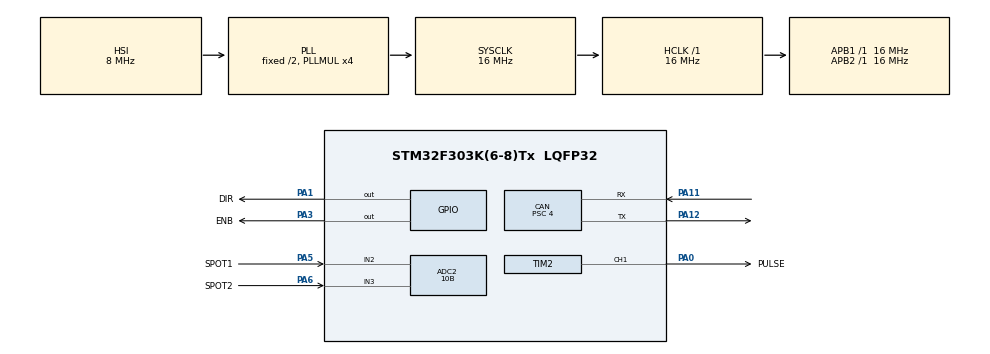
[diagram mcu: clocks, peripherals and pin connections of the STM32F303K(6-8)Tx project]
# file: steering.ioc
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ADC2.Channel-3\#ChannelRegularConversion=ADC_CHANNEL_2
ADC2.Channel-5\#ChannelRegularConversion=ADC_CHANNEL_3
ADC2.ContinuousConvMode=ENABLE
ADC2.DMAContinuousRequests=ENABLE
ADC2.EOCSelection=ADC_EOC_SINGLE_CONV
ADC2.NbrOfConversion=2
ADC2.NbrOfConversionFlag=1
ADC2.Offset-3\#ChannelRegularConversion=0
ADC2.Offset-5\#ChannelRegularConversion=0
ADC2.OffsetNumber-3\#ChannelRegularConversion=ADC_OFFSET_NONE
ADC2.OffsetNumber-5\#ChannelRegularConversion=ADC_OFFSET_NONE
ADC2.Rank-3\#ChannelRegularConversion=1
ADC2.Rank-5\#ChannelRegularConversion=2
ADC2.Resolution=ADC_RESOLUTION_10B
ADC2.SamplingTime-3\#ChannelRegularConversion=ADC_SAMPLETIME_181CYCLES_5
ADC2.SamplingTime-5\#ChannelRegularConversion=ADC_SAMPLETIME_181CYCLES_5
ADC2.SamplingTimeOPAMP-5\#ChannelRegularConversion=ADC_SAMPLETIME_1CYCLE_5
ADC2.SubFamily=STM32F303x8
CAN.BS1=CAN_BS1_2TQ
CAN.CalculateBaudRate=1000000
CAN.CalculateTimeBit=1000
CAN.CalculateTimeQuantum=250.0
CAN.Mode=CAN_MODE_NORMAL
CAN.Prescaler=4
Dma.ADC2.0.Direction=DMA_PERIPH_TO_MEMORY
Dma.ADC2.0.Instance=DMA1_Channel2
Dma.ADC2.0.MemDataAlignment=DMA_MDATAALIGN_HALFWORD
Dma.ADC2.0.MemInc=DMA_MINC_ENABLE
Dma.ADC2.0.Mode=DMA_CIRCULAR
Dma.ADC2.0.PeriphDataAlignment=DMA_PDATAALIGN_HALFWORD
Dma.ADC2.0.PeriphInc=DMA_PINC_DISABLE
Dma.ADC2.0.Priority=DMA_PRIORITY_LOW
Dma.Request0=ADC2
Mcu.Family=STM32F3
Mcu.Name=STM32F303K(6-8)Tx
Mcu.Package=LQFP32
NVIC.DMA1_Channel2_IRQn=true\:0\:0\:false\:false\:true\:false\:true\:true
NVIC.PriorityGroup=NVIC_PRIORITYGROUP_4
NVIC.TIM3_IRQn=true\:0\:0\:false\:false\:true\:true\:true\:true
PA0.GPIO_Label=PULSE
PA0.Signal=S_TIM2_CH1_ETR
PA1.GPIO_Label=DIR
PA1.Signal=GPIO_Output
PA11.Mode=CAN_Activate
PA11.Signal=CAN_RX
PA12.Mode=CAN_Activate
PA12.Signal=CAN_TX
PA3.GPIO_Label=ENB
PA3.PinState=GPIO_PIN_SET
PA3.Signal=GPIO_Output
PA5.GPIO_Label=SPOT1
PA5.Mode=IN2-Single-Ended
PA5.Signal=ADC2_IN2
PA6.GPIO_Label=SPOT2
PA6.Mode=IN3-Single-Ended
PA6.Signal=ADC2_IN3
ProjectManager.HeapSize=0x200
ProjectManager.StackSize=0x400
ProjectManager.TargetToolchain=STM32CubeIDE
RCC.ADC12PRES=RCC_ADC12PLLCLK_DIV8
RCC.AHBFreq_Value=16000000
RCC.APB1Freq_Value=16000000
RCC.APB1TimFreq_Value=16000000
RCC.APB2Freq_Value=16000000
RCC.APB2TimFreq_Value=16000000
RCC.CortexFreq_Value=16000000
RCC.HCLKFreq_Value=16000000
RCC.HSE_VALUE=8000000
RCC.HSI_VALUE=8000000
RCC.PLLMUL=RCC_PLL_MUL4
RCC.SYSCLKFreq_VALUE=16000000
RCC.SYSCLKSourceVirtual=RCC_SYSCLKSOURCE_PLLCLK
SH.S_TIM2_CH1_ETR.0=TIM2_CH1,PWM Generation1 CH1
TIM2.Channel-PWM\ Generation1\ CH1=TIM_CHANNEL_1
TIM2.Period=100-1
TIM2.Prescaler=2000-1
TIM3.Period=100-1
TIM3.Prescaler=2000-1
VP_TIM2_VS_ClockSourceINT.Mode=Internal
VP_TIM3_VS_ClockSourceINT.Mode=Internal
board=custom

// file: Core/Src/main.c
/* USER CODE BEGIN Header */
/**
  ******************************************************************************
  * @file           : main.c
  * @brief          : Main program body
  ******************************************************************************
  * @attention
  *
  * Copyright (c) 2022 STMicroelectronics.
  * All rights reserved.
  *
  * This software is licensed under terms that can be found in the LICENSE file
  * in the root directory of this software component.
  * If no LICENSE file comes with this software, it is provided AS-IS.
  *
  * Pinout:
  * D2	CANTX	PA_12
  * D10	CANRX	PA_11
  * VIN	VIN		VIN
  * GND	GND		GND
  * A0	PULSE 	PA_0
  * A1	DIR 	PA_1
  * A2	ENB 	PA_3
  * A4	SPOT1 	PA_5
  * A5	SPOT2 	PA_6
  *
  * TIM2 generates PWM, TIM3 controls the frequency of the controller.
  * Callbacks should only be performed based on TIM3 ITs, while TIM2 parameters
  * are meant to be modified by the callbacks in order to control the motor.
  ******************************************************************************
  */
/* USER CODE END Header */
#include "main.h"

/* USER CODE BEGIN Includes */
#include <timing.h>
#include <can0.h>
#include <math.h>
#include <stdbool.h>
#include <stdio.h>

/* USER CODE END Includes */

/* USER CODE BEGIN PTD */
struct proportional_data{
	uint32_t left_y, right_y;
	float left_x, right_x;
};

struct lowpass_data{
	uint16_t  input, output;
	float cutoff_frequency, dt;
};

struct lowpass32_data{
	uint32_t  input, output;
	float cutoff_frequency, dt;
};
/* USER CODE END PTD */

/* USER CODE BEGIN PD */
#define ADC_SIZE 50
#define POSITION_SAMPLES_NUMBER 5

const float MAX_STEERING_ANGLE = 22.8f*6.5625f; // [deg]
const float ADC_MAX_VALUE = 1024.0f;
const float ADC_MAX_VOLTAGE = 3.6f; // [V]
const float DEGREES_PER_VOLT = 20.0f; // [deg/V]
const float VOLTAGE_RATIO = 3.3f/5.0f;
const float TOLERANCE = 5.0f; // [deg]
const float STEERING_RATIO = 6.5625f;
const float STD_DEVIATION_LIMIT = 2.5f;
/* USER CODE END PD */

 ADC_HandleTypeDef hadc2;
DMA_HandleTypeDef hdma_adc2;

CAN_HandleTypeDef hcan;

TIM_HandleTypeDef htim2;
TIM_HandleTypeDef htim3;

/* USER CODE BEGIN PV */
//volatile float degrees;
struct proportional_data p_data_angular_error, p_data_odometry_speed_1, p_data_odometry_speed_2;
struct lowpass_data lowpass_data;
struct lowpass32_data lowpass32_data;

float target_angle=0; // [deg]
float speed=10; // [m/s]

float current_angle=0; // [deg]
float tension=0; // [V]
float angular_error=0; // [deg]
uint16_t prescaler=100-1;
uint16_t ADC2_Value[ADC_SIZE];
uint16_t filtered_ADC = 0;
uint32_t target_psc = 500;
uint16_t position_samples[POSITION_SAMPLES_NUMBER];
uint16_t k=0;
uint16_t cansendflag=0;

float flag=0;
float sigma=0;
float centerOffset=2.62f-0.505f+0.4975f-0.535f;
/* USER CODE END PV */

void SystemClock_Config(void);
static void MX_GPIO_Init(void);
static void MX_ADC2_Init(void);
static void MX_DMA_Init(void);
static void MX_CAN_Init(void);
static void MX_TIM2_Init(void);
static void MX_TIM3_Init(void);
/* USER CODE BEGIN PFP */
void Autoset(){
	centerOffset=((filtered_ADC / ADC_MAX_VALUE) * ADC_MAX_VOLTAGE)/(VOLTAGE_RATIO);

	MmrCanHeader header = MMR_CAN_NormalHeader(MMR_CAN_MESSAGE_ID_ST_STEERING_CENTER_AUTOSET_OK);
  MmrCanMessage autosetOkMsg = MMR_CAN_OutMessage(header);

	MMR_CAN_Send(&can0, &autosetOkMsg);
}

float Average(uint16_t p[], int length){
    float avg=0;
    for (int i =0; i<length; i++){
        avg+=p[i];
    }
    return avg/(length);
}

float StandardDeviation(uint16_t p[], int length){
    float avg=Average(p, length);
    float sigma=0;
    for (int i =0; i<length; i++){
        sigma+=pow((float)(p[i]-avg), 2);
    }
    return sqrt(sigma/length);

}

uint32_t Proportional(float error, struct proportional_data p_data){
	float absolute_error=fabsf(error);
	if(absolute_error<p_data.left_x){
		return p_data.left_y;
	} else if(absolute_error>p_data.right_x){
		return p_data.right_y;
	} else{
		float proportional_slope=(p_data.left_y-p_data.right_y)/(p_data.left_x-p_data.right_x);
		return (proportional_slope*absolute_error)+p_data.left_y-(proportional_slope*p_data.left_x);
	}
}

static void steer(
  GPIO_PinState dirPinExpected,
  GPIO_PinState dirPinWrite
) {
  if (HAL_GPIO_ReadPin(DIR_GPIO_Port, DIR_Pin) == dirPinExpected){
    HAL_GPIO_WritePin(DIR_GPIO_Port, DIR_Pin, dirPinWrite);
    target_psc=Proportional(speed, p_data_odometry_speed_1);
    lowpass32_data.output=target_psc;
  }

  TIM2->CCR1 = 50;
}

static void steerRight() {
  steer(GPIO_PIN_RESET, GPIO_PIN_SET);
}

static void steerLeft() {
  steer(GPIO_PIN_SET, GPIO_PIN_RESET);
}

uint16_t Lowpass(uint16_t input, struct lowpass_data *lp_data){
	lp_data->input=input;
	return lp_data->output += (lp_data->input - lp_data->output) * (1-exp(-lp_data->dt * lp_data->cutoff_frequency));
}

uint32_t Lowpass32(uint32_t input, struct lowpass32_data *lp32_data){
	lp32_data->input=input;
	float exp_portion=1.f-exp(-lp32_data->dt * lp32_data->cutoff_frequency);
	float input_minus_output=(float)lp32_data->input - (float)lp32_data->output;
	return lp32_data->output = (uint32_t)((float)lp32_data->output + (float)(input_minus_output * exp_portion));
}

void HAL_TIM_PeriodElapsedCallback(TIM_HandleTypeDef *htim)
{
  // Check which version of the timer triggered this callback
  if (htim == &htim3)
  {
	filtered_ADC =Lowpass(ADC2_Value[0], &lowpass_data);

    tension = ((filtered_ADC / ADC_MAX_VALUE) * ADC_MAX_VOLTAGE)/(VOLTAGE_RATIO) - centerOffset;

    current_angle = tension * DEGREES_PER_VOLT * 4.0f;

	//current_angle = 0.72f*filtered_ADC-284.4f;
    angular_error = -(target_angle - current_angle); // We calculate the error compared to the target

    if(k>=POSITION_SAMPLES_NUMBER-1){
    	k=0;
    } else k++;
    position_samples[k]=filtered_ADC;
    sigma = StandardDeviation(position_samples, POSITION_SAMPLES_NUMBER);
    if(sigma<STD_DEVIATION_LIMIT) {
    	target_psc=Proportional(speed, p_data_odometry_speed_1);
    	lowpass32_data.output=target_psc;
    }

    if (angular_error > TOLERANCE) {
      steerRight();
      p_data_angular_error.left_y=Proportional(speed, p_data_odometry_speed_1);
      p_data_angular_error.right_y=Proportional(speed, p_data_odometry_speed_2);
      target_psc=Proportional(angular_error, p_data_angular_error);
      TIM2->PSC = Lowpass32(Proportional(angular_error, p_data_angular_error), &lowpass32_data);
    }
    else if (angular_error < -TOLERANCE) {
      steerLeft();
      p_data_angular_error.left_y=Proportional(speed, p_data_odometry_speed_1);
      p_data_angular_error.right_y=Proportional(speed, p_data_odometry_speed_2);
      target_psc=Proportional(angular_error, p_data_angular_error);
      TIM2->PSC = Lowpass32(Proportional(angular_error, p_data_angular_error), &lowpass32_data);
    }
    else {
      target_psc=Proportional(speed, p_data_odometry_speed_1);
      lowpass32_data.output=target_psc;
      TIM2->PSC=target_psc;
      TIM2->CCR1 = 0;
    }

    // CAN LOGGING
    if (cansendflag==5){
    	float current_steering_angle=current_angle/STEERING_RATIO;
      //uint8_t current_steering_angle = 8;
    	uint8_t *data = (uint8_t*)(&current_steering_angle);
    	MmrCanHeader header = MMR_CAN_NormalHeader(MMR_CAN_MESSAGE_ID_ST_CURRENT_ANGLE);
      MmrCanMessage currentAngleMsg = MMR_CAN_OutMessage(header);
      MMR_CAN_MESSAGE_SetPayload(&currentAngleMsg, data, sizeof(float));

      MMR_CAN_Send(&can0, &currentAngleMsg);
      cansendflag=0;
    } else {
    	cansendflag++;
    }

  }
}
/* USER CODE END PFP */

int main(void)
{

  /* MCU Configuration--------------------------------------------------------*/

  /* Reset of all peripherals, Initializes the Flash interface and the Systick. */
  HAL_Init();

  /* Configure the system clock */
  SystemClock_Config();

  /* Initialize all configured peripherals */
  MX_GPIO_Init();
  MX_DMA_Init();
  MX_ADC2_Init();

  MX_CAN_Init();
  MX_TIM2_Init();
  MX_TIM3_Init();
  /* USER CODE BEGIN 2 */
  if (!MMR_CAN0_Start(&hcan)) {
    Error_Handler();
  }

  MMR_SetTickProvider(HAL_GetTick);

  HAL_ADC_Start_DMA(&hadc2, (uint16_t*)ADC2_Value, ADC_SIZE);
  HAL_TIM_Base_Start_IT(&htim3);
  HAL_TIM_PWM_Start(&htim2, TIM_CHANNEL_1);
  /* USER CODE END 2 */

  /* Infinite loop */
  /* USER CODE BEGIN WHILE */
  MmrCanBuffer buffer = {};
  MmrCanMessage message = {
    .payload = buffer,
  };

  // Definition of proportional parameters
  p_data_angular_error.left_x=0.0f;
  p_data_angular_error.left_y=500;
  p_data_angular_error.right_x=10.0f;
  p_data_angular_error.right_y=200;

  p_data_odometry_speed_1.left_x=0.5f;
  p_data_odometry_speed_1.left_y=4000;
  p_data_odometry_speed_1.right_x=1.0f;
  p_data_odometry_speed_1.right_y=500;

  p_data_odometry_speed_2.left_x=0.5f;
  p_data_odometry_speed_2.left_y=3000;
  p_data_odometry_speed_2.right_x=1.0f;
  p_data_odometry_speed_2.right_y=200;

  // Definition of lowpass parameters
  lowpass_data.input=ADC2_Value[0];
  lowpass_data.output=ADC2_Value[0];
  lowpass_data.cutoff_frequency=20.0f; // [rad/s]
  lowpass_data.dt=0.0125f; // TIM3 time period

  lowpass32_data.input=500;
  lowpass32_data.output=500;
  lowpass32_data.cutoff_frequency=15.0f; // [rad/s]
  lowpass32_data.dt=0.0125f; // TIM3 time period

  for (int i=0; i<POSITION_SAMPLES_NUMBER; i++){
	  position_samples[i]=0;
  }

  HAL_GPIO_WritePin(ENB_GPIO_Port, ENB_Pin, GPIO_PIN_RESET);
  while (1)
  {
	    if (MMR_CAN_ReceiveAsync(&can0, &message) == MMR_TASK_COMPLETED) {
	      MmrCanHeader header = MMR_CAN_MESSAGE_GetHeader(&message);
	      switch (header.messageId) {
	      case MMR_CAN_MESSAGE_ID_D_STEERING_ANGLE:
	        target_angle = (*(float*)buffer) * STEERING_RATIO;
	        break;

	      case MMR_CAN_MESSAGE_ID_D_SPEED_ODOMETRY:
	    	speed = (*(float*)buffer);
	    	break;

	      case MMR_CAN_MESSAGE_ID_ST_PROPORTIONAL_ERROR_LEFT_X:
	    	  p_data_angular_error.left_x=(*(float*)buffer);
	    	  break;

	      case MMR_CAN_MESSAGE_ID_ST_PROPORTIONAL_ERROR_RIGHT_X:
	    	  p_data_angular_error.right_x=(*(float*)buffer);
	    	  break;

	      case MMR_CAN_MESSAGE_ID_ST_PROPORTIONAL_ODOMETRY_MIN_SPEED_LEFT_X:
	    	  p_data_odometry_speed_1.left_x=(*(float*)buffer);
	    	  p_data_odometry_speed_2.left_x=(*(float*)buffer);
	    	  break;

	      case MMR_CAN_MESSAGE_ID_ST_PROPORTIONAL_ODOMETRY_MIN_SPEED_LEFT_Y:
	    	  p_data_odometry_speed_1.left_y=(*(uint32_t*)buffer);
	    	  break;

	      case MMR_CAN_MESSAGE_ID_ST_PROPORTIONAL_ODOMETRY_MIN_SPEED_RIGHT_X:
	    	  p_data_odometry_speed_1.right_x=(*(float*)buffer);
	    	  p_data_odometry_speed_2.right_x=(*(float*)buffer);
	    	  break;

	      case MMR_CAN_MESSAGE_ID_ST_PROPORTIONAL_ODOMETRY_MIN_SPEED_RIGHT_Y:
	    	  p_data_odometry_speed_1.right_y=(*(uint32_t*)buffer);
	    	  break;

	      case MMR_CAN_MESSAGE_ID_ST_PROPORTIONAL_ODOMETRY_MAX_SPEED_LEFT_Y:
	    	  p_data_odometry_speed_2.left_y=(*(uint32_t*)buffer);
	    	  break;

	      case MMR_CAN_MESSAGE_ID_ST_PROPORTIONAL_ODOMETRY_MAX_SPEED_RIGHT_Y:
	    	  p_data_odometry_speed_2.right_y=(*(uint32_t*)buffer);
	    	  break;

	      case MMR_CAN_MESSAGE_ID_ST_RISE_CUTOFF_FREQUENCY:
	    	  lowpass32_data.cutoff_frequency=(*(float*)buffer);
	    	  break;

	      case MMR_CAN_MESSAGE_ID_ST_STEERING_CENTER_AUTOSET:
	      	  Autoset();
	      	  break;
	      }

	    }
	    if(target_angle>MAX_STEERING_ANGLE){
	    	target_angle=MAX_STEERING_ANGLE;
	    } else if(target_angle < -MAX_STEERING_ANGLE){
	    	target_angle = -MAX_STEERING_ANGLE;
	    }

	    /*
	    if(current_angle>120){
	    	target_angle=-140;
	    } else if (current_angle<-120){
	    	target_angle=140;
	    }
	    */
    /* USER CODE END WHILE */

    /* USER CODE BEGIN 3 */
	    flag++;
  }
  /* USER CODE END 3 */
}

void SystemClock_Config(void)
{
  RCC_OscInitTypeDef RCC_OscInitStruct = {0};
  RCC_ClkInitTypeDef RCC_ClkInitStruct = {0};
  RCC_PeriphCLKInitTypeDef PeriphClkInit = {0};

  /** Initializes the RCC Oscillators according to the specified parameters
  * in the RCC_OscInitTypeDef structure.
  */
  RCC_OscInitStruct.OscillatorType = RCC_OSCILLATORTYPE_HSI;
  RCC_OscInitStruct.HSIState = RCC_HSI_ON;
  RCC_OscInitStruct.HSICalibrationValue = RCC_HSICALIBRATION_DEFAULT;
  RCC_OscInitStruct.PLL.PLLState = RCC_PLL_ON;
  RCC_OscInitStruct.PLL.PLLSource = RCC_PLLSOURCE_HSI;
  RCC_OscInitStruct.PLL.PLLMUL = RCC_PLL_MUL4;
  if (HAL_RCC_OscConfig(&RCC_OscInitStruct) != HAL_OK)
  {
    Error_Handler();
  }

  /** Initializes the CPU, AHB and APB buses clocks
  */
  RCC_ClkInitStruct.ClockType = RCC_CLOCKTYPE_HCLK|RCC_CLOCKTYPE_SYSCLK
                              |RCC_CLOCKTYPE_PCLK1|RCC_CLOCKTYPE_PCLK2;
  RCC_ClkInitStruct.SYSCLKSource = RCC_SYSCLKSOURCE_PLLCLK;
  RCC_ClkInitStruct.AHBCLKDivider = RCC_SYSCLK_DIV1;
  RCC_ClkInitStruct.APB1CLKDivider = RCC_HCLK_DIV1;
  RCC_ClkInitStruct.APB2CLKDivider = RCC_HCLK_DIV1;

  if (HAL_RCC_ClockConfig(&RCC_ClkInitStruct, FLASH_LATENCY_0) != HAL_OK)
  {
    Error_Handler();
  }
  PeriphClkInit.PeriphClockSelection = RCC_PERIPHCLK_ADC12;
  PeriphClkInit.Adc12ClockSelection = RCC_ADC12PLLCLK_DIV8;
  if (HAL_RCCEx_PeriphCLKConfig(&PeriphClkInit) != HAL_OK)
  {
    Error_Handler();
  }
}

static void MX_ADC2_Init(void)
{

  ADC_ChannelConfTypeDef sConfig = {0};

  /** Common config
  */
  hadc2.Instance = ADC2;
  hadc2.Init.ClockPrescaler = ADC_CLOCK_ASYNC_DIV1;
  hadc2.Init.Resolution = ADC_RESOLUTION_10B;
  hadc2.Init.ScanConvMode = ADC_SCAN_ENABLE;
  hadc2.Init.ContinuousConvMode = ENABLE;
  hadc2.Init.DiscontinuousConvMode = DISABLE;
  hadc2.Init.ExternalTrigConvEdge = ADC_EXTERNALTRIGCONVEDGE_NONE;
  hadc2.Init.ExternalTrigConv = ADC_SOFTWARE_START;
  hadc2.Init.DataAlign = ADC_DATAALIGN_RIGHT;
  hadc2.Init.NbrOfConversion = 2;
  hadc2.Init.DMAContinuousRequests = ENABLE;
  hadc2.Init.EOCSelection = ADC_EOC_SINGLE_CONV;
  hadc2.Init.LowPowerAutoWait = DISABLE;
  hadc2.Init.Overrun = ADC_OVR_DATA_OVERWRITTEN;
  if (HAL_ADC_Init(&hadc2) != HAL_OK)
  {
    Error_Handler();
  }

  /** Configure Regular Channel
  */
  sConfig.Channel = ADC_CHANNEL_2;
  sConfig.Rank = ADC_REGULAR_RANK_1;
  sConfig.SingleDiff = ADC_SINGLE_ENDED;
  sConfig.SamplingTime = ADC_SAMPLETIME_181CYCLES_5;
  sConfig.OffsetNumber = ADC_OFFSET_NONE;
  sConfig.Offset = 0;
  if (HAL_ADC_ConfigChannel(&hadc2, &sConfig) != HAL_OK)
  {
    Error_Handler();
  }

  /** Configure Regular Channel
  */
  sConfig.Channel = ADC_CHANNEL_3;
  sConfig.Rank = ADC_REGULAR_RANK_2;
  if (HAL_ADC_ConfigChannel(&hadc2, &sConfig) != HAL_OK)
  {
    Error_Handler();
  }

}

static void MX_CAN_Init(void)
{

  hcan.Instance = CAN;
  hcan.Init.Prescaler = 4;
  hcan.Init.Mode = CAN_MODE_NORMAL;
  hcan.Init.SyncJumpWidth = CAN_SJW_1TQ;
  hcan.Init.TimeSeg1 = CAN_BS1_2TQ;
  hcan.Init.TimeSeg2 = CAN_BS2_1TQ;
  hcan.Init.TimeTriggeredMode = DISABLE;
  hcan.Init.AutoBusOff = DISABLE;
  hcan.Init.AutoWakeUp = DISABLE;
  hcan.Init.AutoRetransmission = DISABLE;
  hcan.Init.ReceiveFifoLocked = DISABLE;
  hcan.Init.TransmitFifoPriority = DISABLE;
  if (HAL_CAN_Init(&hcan) != HAL_OK)
  {
    Error_Handler();
  }

}

static void MX_TIM2_Init(void)
{

  TIM_ClockConfigTypeDef sClockSourceConfig = {0};
  TIM_MasterConfigTypeDef sMasterConfig = {0};
  TIM_OC_InitTypeDef sConfigOC = {0};

  htim2.Instance = TIM2;
  htim2.Init.Prescaler = 2000-1;
  htim2.Init.CounterMode = TIM_COUNTERMODE_UP;
  htim2.Init.Period = 100-1;
  htim2.Init.ClockDivision = TIM_CLOCKDIVISION_DIV1;
  htim2.Init.AutoReloadPreload = TIM_AUTORELOAD_PRELOAD_DISABLE;
  if (HAL_TIM_Base_Init(&htim2) != HAL_OK)
  {
    Error_Handler();
  }
  sClockSourceConfig.ClockSource = TIM_CLOCKSOURCE_INTERNAL;
  if (HAL_TIM_ConfigClockSource(&htim2, &sClockSourceConfig) != HAL_OK)
  {
    Error_Handler();
  }
  if (HAL_TIM_PWM_Init(&htim2) != HAL_OK)
  {
    Error_Handler();
  }
  sMasterConfig.MasterOutputTrigger = TIM_TRGO_RESET;
  sMasterConfig.MasterSlaveMode = TIM_MASTERSLAVEMODE_DISABLE;
  if (HAL_TIMEx_MasterConfigSynchronization(&htim2, &sMasterConfig) != HAL_OK)
  {
    Error_Handler();
  }
  sConfigOC.OCMode = TIM_OCMODE_PWM1;
  sConfigOC.Pulse = 0;
  sConfigOC.OCPolarity = TIM_OCPOLARITY_HIGH;
  sConfigOC.OCFastMode = TIM_OCFAST_DISABLE;
  if (HAL_TIM_PWM_ConfigChannel(&htim2, &sConfigOC, TIM_CHANNEL_1) != HAL_OK)
  {
    Error_Handler();
  }
  HAL_TIM_MspPostInit(&htim2);

}

static void MX_TIM3_Init(void)
{

  TIM_ClockConfigTypeDef sClockSourceConfig = {0};
  TIM_MasterConfigTypeDef sMasterConfig = {0};

  htim3.Instance = TIM3;
  htim3.Init.Prescaler = 2000-1;
  htim3.Init.CounterMode = TIM_COUNTERMODE_UP;
  htim3.Init.Period = 100-1;
  htim3.Init.ClockDivision = TIM_CLOCKDIVISION_DIV1;
  htim3.Init.AutoReloadPreload = TIM_AUTORELOAD_PRELOAD_DISABLE;
  if (HAL_TIM_Base_Init(&htim3) != HAL_OK)
  {
    Error_Handler();
  }
  sClockSourceConfig.ClockSource = TIM_CLOCKSOURCE_INTERNAL;
  if (HAL_TIM_ConfigClockSource(&htim3, &sClockSourceConfig) != HAL_OK)
  {
    Error_Handler();
  }
  sMasterConfig.MasterOutputTrigger = TIM_TRGO_RESET;
  sMasterConfig.MasterSlaveMode = TIM_MASTERSLAVEMODE_DISABLE;
  if (HAL_TIMEx_MasterConfigSynchronization(&htim3, &sMasterConfig) != HAL_OK)
  {
    Error_Handler();
  }

}

static void MX_DMA_Init(void)
{

  /* DMA controller clock enable */
  __HAL_RCC_DMA1_CLK_ENABLE();

  /* DMA interrupt init */
  /* DMA1_Channel2_IRQn interrupt configuration */
  HAL_NVIC_SetPriority(DMA1_Channel2_IRQn, 0, 0);
  HAL_NVIC_EnableIRQ(DMA1_Channel2_IRQn);

}

static void MX_GPIO_Init(void)
{
  GPIO_InitTypeDef GPIO_InitStruct = {0};

  /* GPIO Ports Clock Enable */
  __HAL_RCC_GPIOA_CLK_ENABLE();

  /*Configure GPIO pin Output Level */
  HAL_GPIO_WritePin(DIR_GPIO_Port, DIR_Pin, GPIO_PIN_RESET);

  /*Configure GPIO pin Output Level */
  HAL_GPIO_WritePin(ENB_GPIO_Port, ENB_Pin, GPIO_PIN_SET);

  /*Configure GPIO pins : DIR_Pin ENB_Pin */
  GPIO_InitStruct.Pin = DIR_Pin|ENB_Pin;
  GPIO_InitStruct.Mode = GPIO_MODE_OUTPUT_PP;
  GPIO_InitStruct.Pull = GPIO_NOPULL;
  GPIO_InitStruct.Speed = GPIO_SPEED_FREQ_LOW;
  HAL_GPIO_Init(GPIOA, &GPIO_InitStruct);

}

void Error_Handler(void)
{
  __disable_irq();
  while (1)
  {
  }
}
